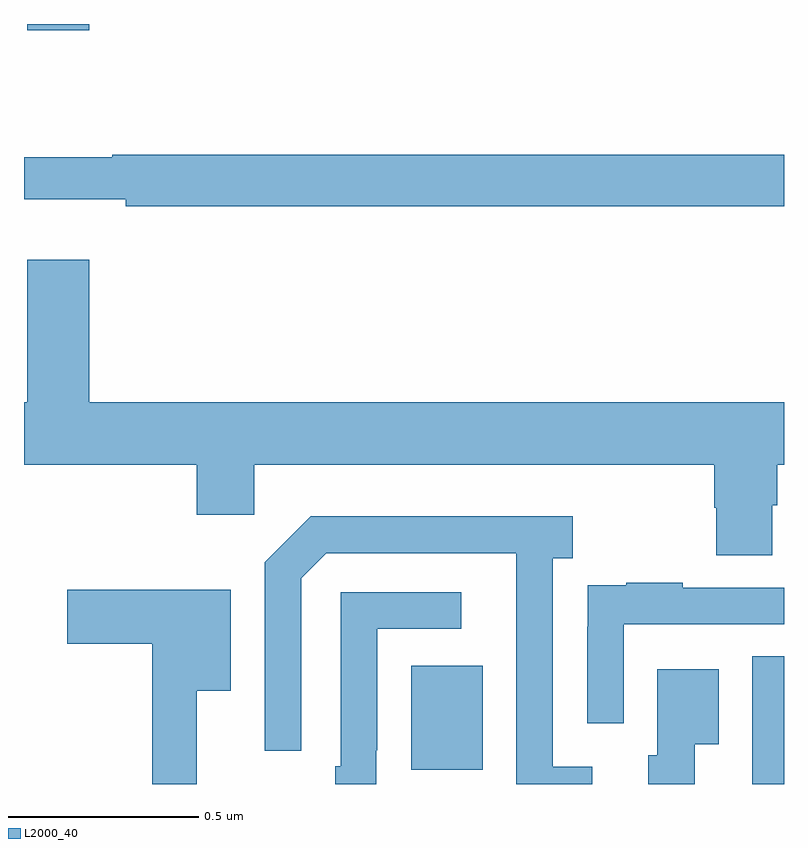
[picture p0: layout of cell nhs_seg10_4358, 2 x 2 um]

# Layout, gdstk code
import gdstk
lib = gdstk.Library(unit=1e-6, precision=1e-09)
def R(c, l, rs):  # rectangles x0, y0, x1, y1
    for r in rs: c.add(gdstk.rectangle(r[:2], r[2:], *l))
def P(c, l, *ps):  # polygons
    for p in ps: c.add(gdstk.Polygon(p, *l))
L2000_40 = (2000, 40)

nhs_seg10_4358 = lib.new_cell('nhs_seg10_4358')
R(nhs_seg10_4358, L2000_40, [(166.916,1275.5,167,1275.836), (166.019,1275.537,166.207,1275.811), (165.008,1277.484,165.172,1277.5)])
P(nhs_seg10_4358, L2000_40, [(167,1277.156),(165.232,1277.156),(165.232,1277.149),(165,1277.149),(165,1277.039),(165.268,1277.039),(165.268,1277.02),(167,1277.02)],
  [(166.969,1276.234),(166.982,1276.234),(166.982,1276.34),(167,1276.34),(167,1276.504),(165.172,1276.504),(165.172,1276.879),(165.008,1276.879),(165.008,1276.504),(165,1276.504),(165,1276.34),(165.455,1276.34),(165.455,1276.209),(165.606,1276.209),(165.606,1276.34),(166.817,1276.34),(166.817,1276.227),(166.822,1276.227),(166.822,1276.102),(166.969,1276.102)],
  [(166.495,1275.546),(166.392,1275.546),(166.392,1276.094),(166.444,1276.094),(166.444,1276.204),(165.754,1276.204),(165.633,1276.083),(165.633,1275.588),(165.729,1275.588),(165.729,1276.041),(165.795,1276.107),(166.295,1276.107),(166.295,1275.907),(166.296,1275.907),(166.296,1275.5),(166.495,1275.5)],
  [(166.578,1275.921),(167,1275.921),(167,1276.017),(166.733,1276.017),(166.733,1276.03),(166.585,1276.03),(166.585,1276.023),(166.483,1276.023),(166.483,1275.914),(166.482,1275.914),(166.482,1275.66),(166.578,1275.66)],
  [(165.455,1275.746),(165.544,1275.746),(165.544,1276.011),(165.114,1276.011),(165.114,1275.869),(165.337,1275.869),(165.337,1275.5),(165.455,1275.5)],
  [(165.927,1275.589),(165.93,1275.589),(165.93,1275.909),(166.15,1275.909),(166.15,1276.005),(165.834,1276.005),(165.834,1275.547),(165.819,1275.547),(165.819,1275.5),(165.927,1275.5)],
  [(166.765,1275.605),(166.828,1275.605),(166.828,1275.802),(166.667,1275.802),(166.667,1275.576),(166.643,1275.576),(166.643,1275.5),(166.765,1275.5)])

lib.write_gds('nhs_seg10_4358.gds')
